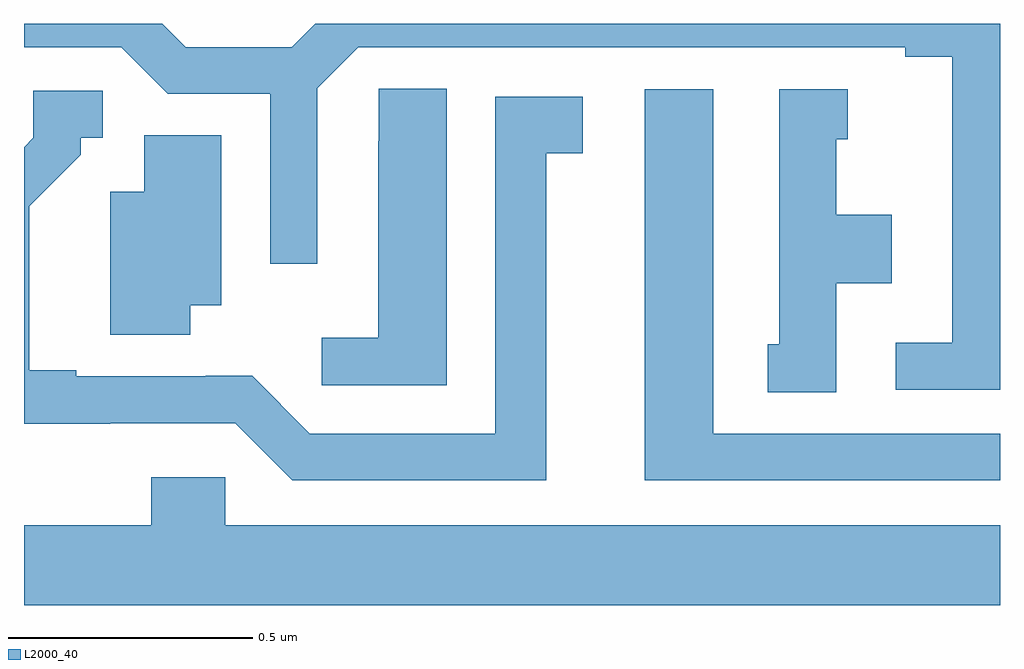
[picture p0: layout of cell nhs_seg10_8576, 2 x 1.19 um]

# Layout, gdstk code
import gdstk
lib = gdstk.Library(unit=1e-6, precision=1e-09)
def P(c, l, *ps):  # polygons
    for p in ps: c.add(gdstk.Polygon(p, *l))
L2000_40 = (2000, 40)

nhs_seg10_8576 = lib.new_cell('nhs_seg10_8576')
P(nhs_seg10_8576, L2000_40, [(220,1309.5),(218.597,1309.5),(218.549,1309.452),(218.331,1309.452),(218.283,1309.5),(218,1309.5),(218,1309.452),(218.199,1309.452),(218.295,1309.356),(218.505,1309.356),(218.505,1309.008),(218.601,1309.008),(218.601,1309.368),(218.685,1309.452),(219.806,1309.452),(219.806,1309.432),(219.902,1309.432),(219.902,1308.846),(219.786,1308.846),(219.786,1308.75),(220,1308.75)],
  [(218.866,1309.367),(218.727,1309.367),(218.727,1309.259),(218.726,1309.259),(218.726,1308.856),(218.61,1308.856),(218.61,1308.759),(218.866,1308.759)],
  [(220,1308.66),(219.412,1308.66),(219.412,1309.366),(219.272,1309.366),(219.272,1308.564),(220,1308.564)],
  [(219.664,1308.968),(219.778,1308.968),(219.778,1309.108),(219.664,1309.108),(219.664,1309.263),(219.688,1309.263),(219.688,1309.366),(219.548,1309.366),(219.548,1308.843),(219.524,1308.843),(219.524,1308.745),(219.664,1308.745)],
  [(219.07,1309.234),(219.145,1309.234),(219.145,1309.35),(218.966,1309.35),(218.966,1308.66),(218.586,1308.66),(218.468,1308.778),(218.372,1308.778),(218.372,1308.777),(218.107,1308.777),(218.107,1308.79),(218.011,1308.79),(218.011,1309.126),(218.116,1309.231),(218.116,1309.266),(218.161,1309.266),(218.161,1309.362),(218.019,1309.362),(218.019,1309.266),(218,1309.247),(218,1308.68),(218.177,1308.68),(218.177,1308.681),(218.433,1308.681),(218.55,1308.564),(219.07,1308.564)],
  [(218.341,1308.923),(218.404,1308.923),(218.404,1309.271),(218.246,1309.271),(218.246,1309.156),(218.177,1309.156),(218.177,1308.862),(218.341,1308.862)],
  [(220,1308.472),(218.412,1308.472),(218.412,1308.57),(218.261,1308.57),(218.261,1308.472),(218,1308.472),(218,1308.308),(220,1308.308)])

lib.write_gds('nhs_seg10_8576.gds')
